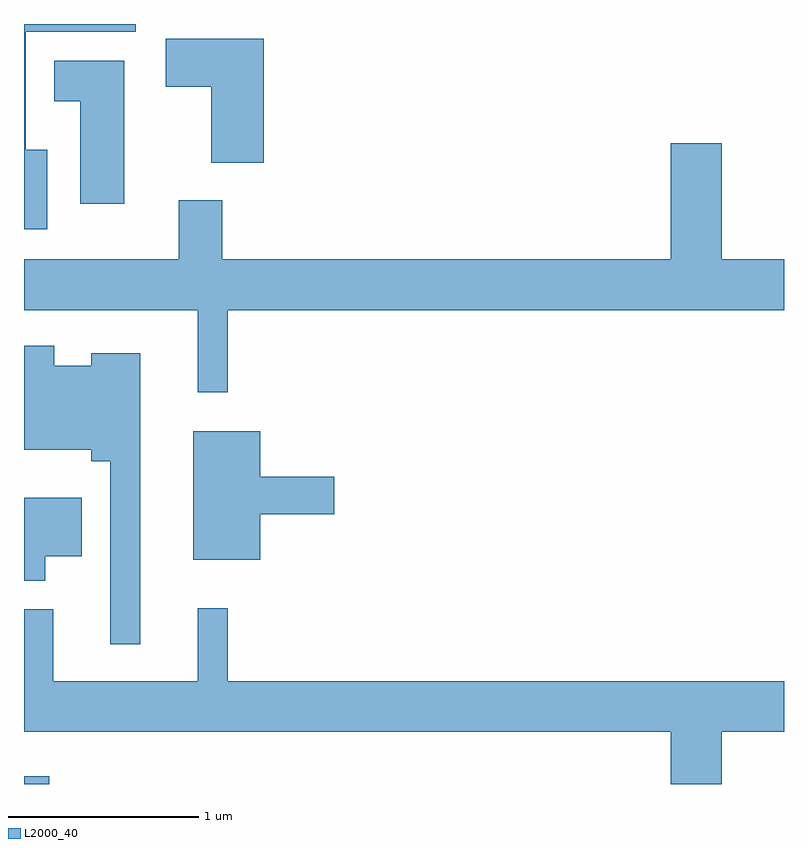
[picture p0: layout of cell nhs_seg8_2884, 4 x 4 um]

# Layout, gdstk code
import gdstk
lib = gdstk.Library(unit=1e-6, precision=1e-09)
def R(c, l, rs):  # rectangles x0, y0, x1, y1
    for r in rs: c.add(gdstk.rectangle(r[:2], r[2:], *l))
def P(c, l, *ps):  # polygons
    for p in ps: c.add(gdstk.Polygon(p, *l))
L2000_40 = (2000, 40)

nhs_seg8_2884 = lib.new_cell('nhs_seg8_2884')
R(nhs_seg8_2884, L2000_40, [(271.611,1858.342,271.744,1858.384)])
P(nhs_seg8_2884, L2000_40, [(271.734,1861.679),(271.619,1861.679),(271.619,1862.301),(272.199,1862.301),(272.199,1862.342),(271.611,1862.342),(271.611,1861.261),(271.734,1861.261)],
  [(272.874,1862.264),(272.356,1862.264),(272.356,1862.011),(272.596,1862.011),(272.596,1861.611),(272.874,1861.611)],
  [(272.139,1862.149),(271.771,1862.149),(271.771,1861.936),(271.906,1861.936),(271.906,1861.396),(272.139,1861.396)],
  [(272.684,1860.836),(275.611,1860.836),(275.611,1861.104),(275.284,1861.104),(275.284,1861.714),(275.016,1861.714),(275.016,1861.104),(272.654,1861.104),(272.654,1861.414),(272.426,1861.414),(272.426,1861.104),(271.611,1861.104),(271.611,1860.836),(272.526,1860.836),(272.526,1860.403),(272.684,1860.403)],
  [(272.224,1860.609),(271.966,1860.609),(271.966,1860.544),(271.769,1860.544),(271.769,1860.648),(271.611,1860.648),(271.611,1860.101),(271.966,1860.101),(271.966,1860.041),(272.066,1860.041),(272.066,1859.078),(272.224,1859.078)],
  [(272.854,1859.761),(273.244,1859.761),(273.244,1859.959),(272.854,1859.959),(272.854,1860.199),(272.501,1860.199),(272.501,1859.521),(272.854,1859.521)],
  [(271.724,1859.541),(271.914,1859.541),(271.914,1859.849),(271.611,1859.849),(271.611,1859.411),(271.724,1859.411)],
  [(275.284,1858.616),(275.611,1858.616),(275.611,1858.884),(272.684,1858.884),(272.684,1859.268),(272.526,1859.268),(272.526,1858.884),(271.764,1858.884),(271.764,1859.263),(271.611,1859.263),(271.611,1858.616),(275.016,1858.616),(275.016,1858.342),(275.284,1858.342)])

lib.write_gds('nhs_seg8_2884.gds')
